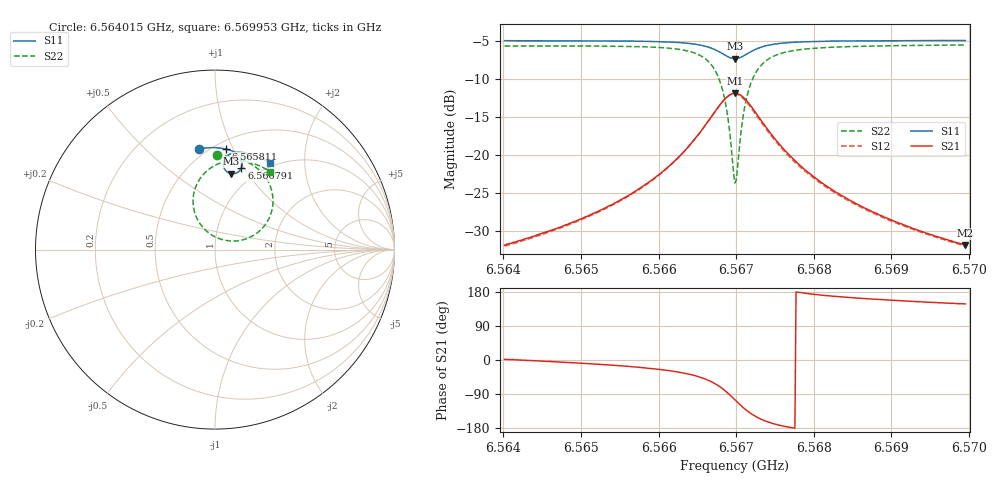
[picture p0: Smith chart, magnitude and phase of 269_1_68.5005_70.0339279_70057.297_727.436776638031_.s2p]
#  HZ  S  RI  R  50.00
! Rohde & Schwarz Vector Network Analyzer
! Rohde-Schwarz,ZNB20-2Port,1311601062101988,3.16
! Created: UTC 3/20/2024, 5:00:40 PM
! freq[Hz]  re:S11  im:S11  re:S21  im:S21  re:S12  im:S12  re:S22  im:S22
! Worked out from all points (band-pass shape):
!   401 points, 6.564015 GHz to 6.569953 GHz, reference 50 ohm
!   highest |S21| = -11.82 dB at 6.566984 GHz (marker M1); lowest = -31.9 dB at 6.569953 GHz (marker M2)
!   |S21| within 3 dB of the highest: 6.566687 GHz to 6.567281 GHz (594.3 kHz wide, 0.00905 % of centre)
!   lowest |S11| = -7.3 dB at 6.566984 GHz (marker M3), VSWR 2.53, Z = 40.1 + j41.9 ohm
!   |S11| at or under -10 dB: nowhere
!   |S22| runs from -23.6 to -5.5 dB; largest |S21 - S12| = 0.012
!   S11 on the Smith chart (normalised r, x): 6.564015 GHz: 0.45, +0.75; 6.565811 GHz: 0.57, +0.94; 6.566791 GHz: 0.83, +0.97; 6.569953 GHz: 0.95, +1.35
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6.5640153e9  -0.0889 0.5621  0.0256 0.000806  0.0252 0.00032  0.00945 0.5247
6.5650098e9  -0.00878 0.5679  0.0378 -0.00575  0.0372 -0.0064  0.0997 0.5152
6.5658114e9  0.0626 0.5602  0.0593 -0.022  0.0583 -0.0228  0.1934 0.4812
6.5660044e9  0.0818 0.5547  0.0679 -0.0311  0.0669 -0.0318  0.2223 0.463
6.566331e9  0.1174 0.5371  0.0875 -0.0606  0.086 -0.0618  0.2807 0.4044
6.5665536e9  0.1423 0.5108  0.1002 -0.1061  0.0981 -0.1081  0.3186 0.3166
6.5666872e9  0.1514 0.4832  0.0959 -0.1543  0.0924 -0.1569  0.3183 0.2248
6.5667911e9  0.1467 0.4544  0.0706 -0.2034  0.0645 -0.206  0.2749 0.1323
6.5668802e9  0.1271 0.4313  0.02 -0.2413  0.0109 -0.2419  0.1839 0.0637
6.5669544e9  0.0995 0.4227  -0.0415 -0.2517  -0.0518 -0.2483  0.0739 0.049
6.5669841e9  0.0876 0.4239  -0.0676 -0.2474  -0.0776 -0.242  0.0285 0.0593
6.5670138e9  0.076 0.4279  -0.0922 -0.2379  -0.1013 -0.231  -0.0134 0.0785
6.5670732e9  0.0579 0.4423  -0.1324 -0.2069  -0.1385 -0.1976  -0.0787 0.1376
6.5671325e9  0.048 0.4616  -0.156 -0.1681  -0.1592 -0.1582  -0.1135 0.2082
6.5671919e9  0.0463 0.4809  -0.1649 -0.1302  -0.1657 -0.121  -0.1222 0.2751
6.5672661e9  0.0519 0.501  -0.1624 -0.0907  -0.1611 -0.083  -0.1097 0.3432
6.5673849e9  0.0685 0.5224  -0.1451 -0.0481  -0.1427 -0.0427  -0.0689 0.4147
6.5675333e9  0.0916 0.5357  -0.1207 -0.0192  -0.118 -0.016  -0.0147 0.4611
6.5679786e9  0.1479 0.5422  -0.0731 0.00787  -0.0714 0.00893  0.0988 0.4961
6.5684537e9  0.1936 0.5332  -0.0491 0.0132  -0.048 0.0137  0.1715 0.4909
6.5689732e9  0.2362 0.5181  -0.0353 0.0141  -0.0345 0.0144  0.2279 0.4749
6.5699529e9  0.3065 0.4817  -0.0216 0.0135  -0.0212 0.0137  0.3083 0.4346
